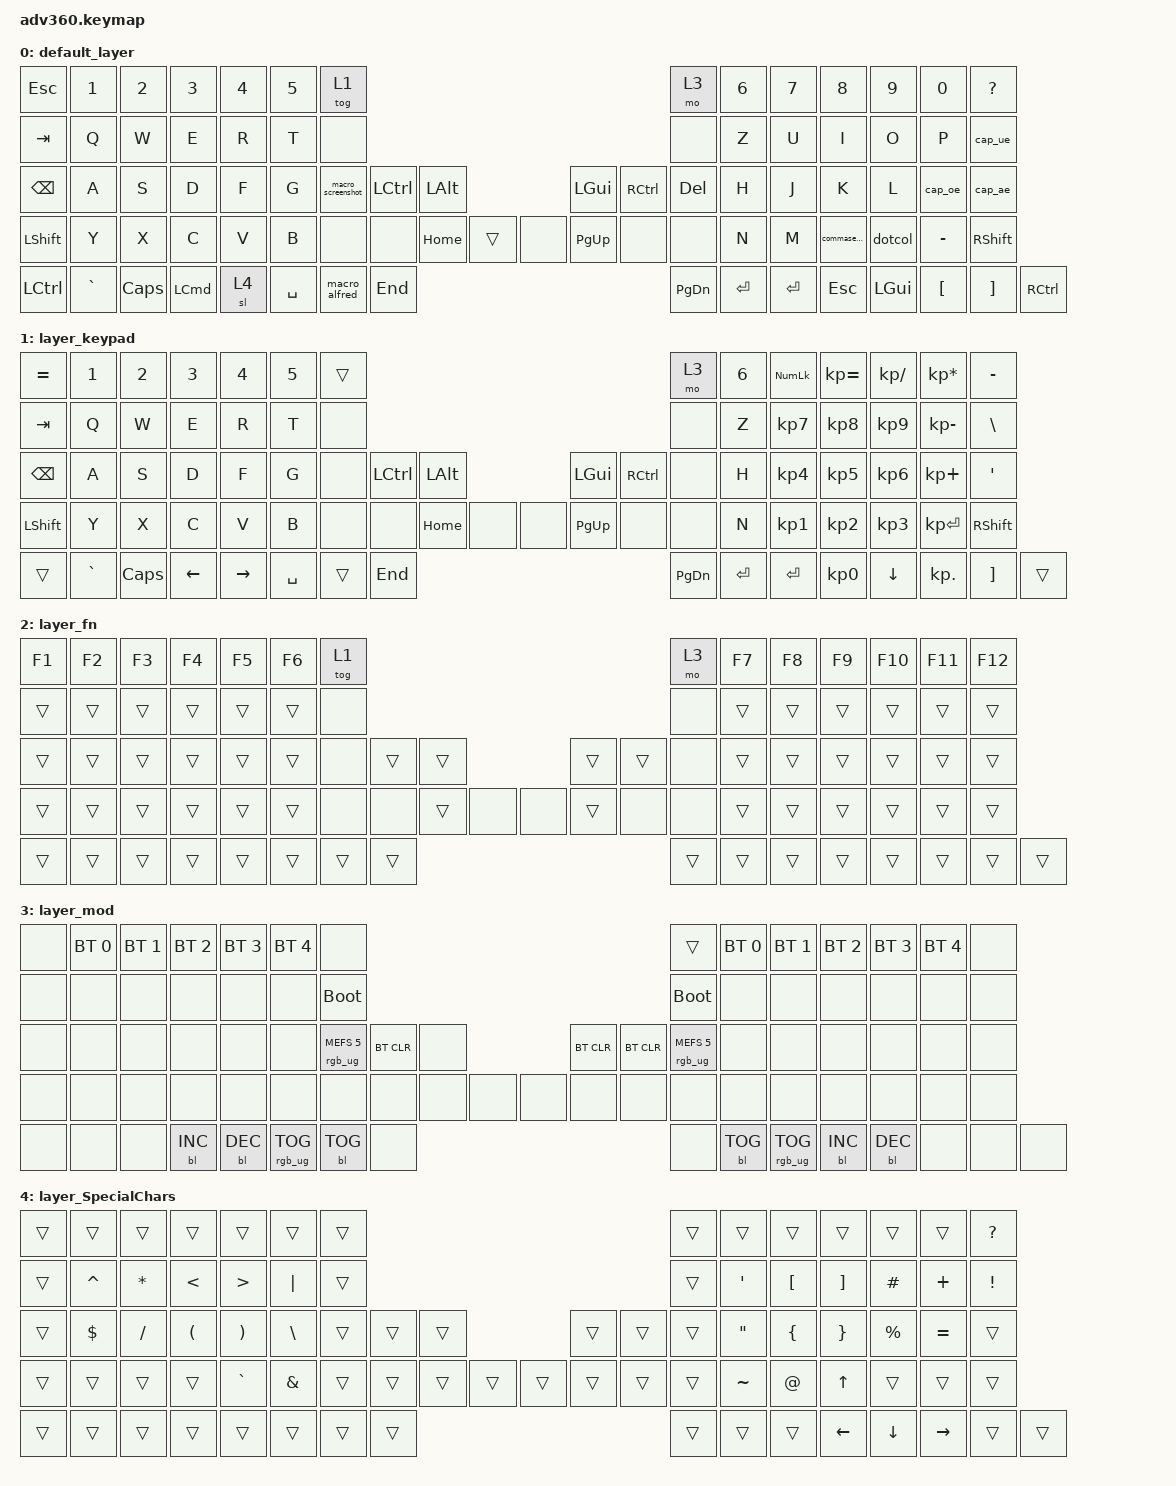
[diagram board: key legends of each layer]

/*
 * Copyright (c) 2020 The ZMK Contributors
 *
 * SPDX-License-Identifier: MIT
 */


/* THIS FILE WAS GENERATED!
 *
 * This file was generated automatically. You may or may not want to
 * edit it directly.
 */

#include <behaviors.dtsi>
#include <dt-bindings/zmk/keys.h>
#include <dt-bindings/zmk/bt.h>
#include <dt-bindings/zmk/rgb.h>
#include <dt-bindings/zmk/backlight.h>

/ {
  behaviors {
    #include "macros.dtsi"

    hm: homerow_mods {
        compatible = "zmk,behavior-hold-tap";
        label = "HOMEROW_MODS";
        #binding-cells = <2>;
        tapping-term-ms = <200>;
        quick_tap_ms = <175>;
        flavor = "tap-preferred";
        bindings = <&kp>, <&kp>;
    };

    dotcol: dot_colon {
        compatible = "zmk,behavior-mod-morph"; 
        label = "dotcol"; 
        mods = <(MOD_LSFT|MOD_RSFT)>; 
        #binding-cells = <0>;
        bindings = <&kp DOT>, <&kp COLON>;
    };
    
    commasemi: comma_semicolon {
        compatible = "zmk,behavior-mod-morph"; 
        label = "commasemi"; 
        mods = <(MOD_LSFT|MOD_RSFT)>; 
        #binding-cells = <0>;
        bindings = <&kp COMMA>, <&kp SEMICOLON>;
    };
    
    cap_oe: cap_oe {
        compatible = "zmk,behavior-mod-morph"; 
        label = "cap_oe"; 
        mods = <(MOD_LSFT|MOD_RSFT)>; 
        #binding-cells = <0>;
        bindings = <&macro_oe>, <&macro_oe_cap>;
    };
    cap_ae: cap_ae {
        compatible = "zmk,behavior-mod-morph"; 
        label = "cap_ae"; 
        mods = <(MOD_LSFT|MOD_RSFT)>; 
        #binding-cells = <0>;
        bindings = <&macro_ae>, <&macro_ae_cap>;
    };
    cap_ue: cap_ue {
        compatible = "zmk,behavior-mod-morph"; 
        label = "cap_ue"; 
        mods = <(MOD_LSFT|MOD_RSFT)>; 
        #binding-cells = <0>;
        bindings = <&macro_ue>, <&macro_ue_cap>;
    };
  };

    keymap {
        compatible = "zmk,keymap";


        default_layer {
            bindings = <
       &kp ESC     &kp N1    &kp N2            &kp N3  &kp N4  &kp N5                       &tog 1                                                                     &mo 3  &kp N6   &kp N7        &kp N8    &kp N9     &kp N0  &kp QUESTION
       &kp TAB      &kp Q     &kp W             &kp E   &kp R   &kp T                        &none                                                                     &none   &kp Z    &kp U         &kp I     &kp O      &kp P      &cap_ue 
 &kp BACKSPACE      &kp A     &kp S             &kp D   &kp F   &kp G            &macro_screenshot      &kp LCTRL  &kp LALT                   &kp LGUI  &kp RCTRL    &kp DEL   &kp H    &kp J         &kp K     &kp L   &cap_oe        &cap_ae
     &kp LSHFT      &kp Y     &kp X             &kp C   &kp V   &kp B                        &none          &none  &kp HOME  &trans   &none  &kp PG_UP      &none      &none   &kp N    &kp M  &commasemi &dotcol &kp MINUS     &kp RSHFT
     &kp LCTRL      &kp GRAVE  &kp CAPS  &kp LEFT_COMMAND   &sl 4                            &kp SPACE  &macro_alfred   &kp END                  &kp PG_DN  &kp ENTER  &kp ENTER          &kp ESC         &kp LGUI  &kp LBKT   &kp RBKT         &kp RCTRL
            >;
        };

        layer_keypad {
            bindings = <
     &kp EQUAL     &kp N1    &kp N2    &kp N3     &kp N4  &kp N5               &trans                                                                 &mo 3  &kp N6  &kp KP_NUM  &kp KP_EQUAL  &kp KP_DIVIDE  &kp KP_MULTIPLY  &kp MINUS
       &kp TAB      &kp Q     &kp W     &kp E      &kp R   &kp T                &none                                                                 &none   &kp Z   &kp KP_N7     &kp KP_N8      &kp KP_N9     &kp KP_MINUS   &kp BSLH
 &kp BACKSPACE      &kp A     &kp S     &kp D      &kp F   &kp G                &none  &kp LCTRL  &kp LALT                   &kp LGUI  &kp RCTRL      &none   &kp H   &kp KP_N4     &kp KP_N5      &kp KP_N6      &kp KP_PLUS    &kp SQT
     &kp LSHFT      &kp Y     &kp X     &kp C      &kp V   &kp B                &none      &none  &kp HOME   &none   &none  &kp PG_UP      &none      &none   &kp N   &kp KP_N1     &kp KP_N2      &kp KP_N3     &kp KP_ENTER  &kp RSHFT
     &trans         &kp GRAVE  &kp CAPS  &kp LEFT  &kp RIGHT                    &kp SPACE     &trans   &kp END                  &kp PG_DN  &kp ENTER  &kp ENTER           &kp KP_N0      &kp DOWN     &kp KP_DOT         &kp RBKT      &trans
            >;
        };

        layer_fn {
            bindings = <
 &kp F1  &kp F2  &kp F3  &kp F4  &kp F5  &kp F6            &tog 1                                                   &mo 3  &kp F7  &kp F8  &kp F9  &kp F10  &kp F11  &kp F12
 &trans  &trans  &trans  &trans  &trans  &trans             &none                                                   &none  &trans  &trans  &trans   &trans   &trans   &trans
 &trans  &trans  &trans  &trans  &trans  &trans             &none  &trans  &trans                  &trans  &trans   &none  &trans  &trans  &trans   &trans   &trans   &trans
 &trans  &trans  &trans  &trans  &trans  &trans             &none   &none  &trans   &none   &none  &trans   &none   &none  &trans  &trans  &trans   &trans   &trans   &trans
 &trans  &trans  &trans  &trans  &trans                    &trans  &trans  &trans                  &trans  &trans  &trans          &trans  &trans   &trans   &trans   &trans
            >;
        };

        layer_mod {
            bindings = <
  &none  &bt BT_SEL 0  &bt BT_SEL 1  &bt BT_SEL 2  &bt BT_SEL 3  &bt BT_SEL 4                             &none                                                                              &trans  &bt BT_SEL 0  &bt BT_SEL 1  &bt BT_SEL 2  &bt BT_SEL 3  &bt BT_SEL 4   &none
  &none         &none         &none         &none         &none         &none                       &bootloader                                                                         &bootloader         &none         &none         &none         &none         &none   &none
  &none         &none         &none         &none         &none         &none            &rgb_ug RGB_MEFS_CMD 5  &bt BT_CLR   &none                  &bt BT_CLR  &bt BT_CLR  &rgb_ug RGB_MEFS_CMD 5         &none         &none         &none         &none         &none   &none
  &none         &none         &none         &none         &none         &none                             &none       &none   &none   &none   &none       &none       &none                   &none         &none         &none         &none         &none         &none   &none
  &none         &none         &none    &bl BL_INC    &bl BL_DEC                                 &rgb_ug RGB_TOG  &bl BL_TOG   &none                       &none  &bl BL_TOG         &rgb_ug RGB_TOG                  &bl BL_INC    &bl BL_DEC         &none         &none   &none
            >;
        };

        layer_SpecialChars {
            bindings = <
 &trans      &trans        &trans                &trans                 &trans         &trans            &trans                                                  &trans             &trans            &trans             &trans       &trans     &trans  &kp QUESTION
 &trans   &kp CARET  &kp ASTERISK         &kp LESS_THAN       &kp GREATER_THAN       &kp PIPE            &trans                                                  &trans   &kp SINGLE_QUOTE  &kp LEFT_BRACKET  &kp RIGHT_BRACKET     &kp HASH   &kp PLUS      &kp EXCL
 &trans  &kp DOLLAR     &kp SLASH  &kp LEFT_PARENTHESIS  &kp RIGHT_PARENTHESIS  &kp BACKSLASH            &trans  &trans  &trans                  &trans  &trans  &trans  &kp DOUBLE_QUOTES    &kp LEFT_BRACE    &kp RIGHT_BRACE  &kp PERCENT  &kp EQUAL        &trans
 &trans      &trans        &trans                &trans              &kp GRAVE       &kp AMPS            &trans  &trans  &trans  &trans  &trans  &trans  &trans  &trans          &kp TILDE            &kp AT             &kp UP       &trans     &trans        &trans
 &trans      &trans        &trans                &trans                 &trans                           &trans  &trans  &trans                  &trans  &trans  &trans                             &kp LEFT           &kp DOWN    &kp RIGHT     &trans        &trans
            >;
        };

    };
};
